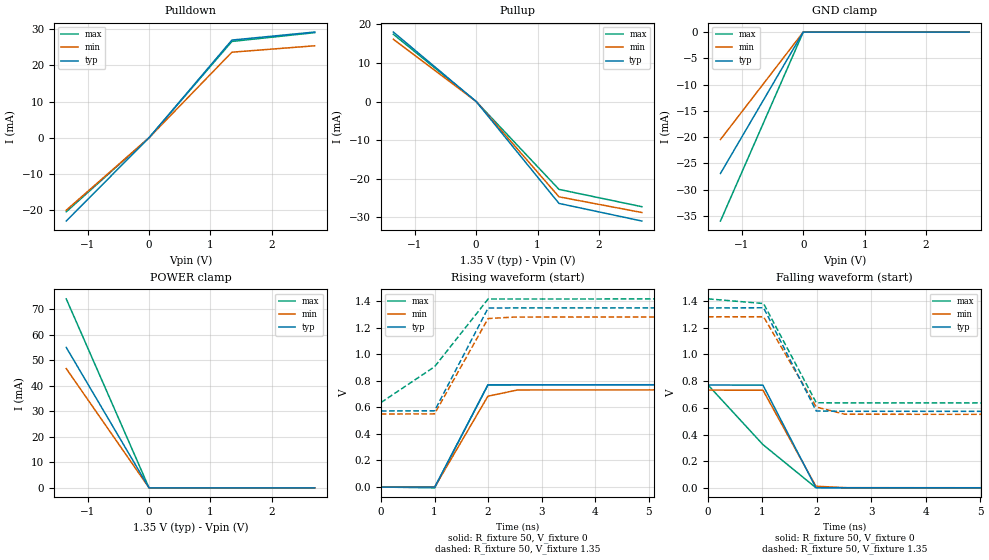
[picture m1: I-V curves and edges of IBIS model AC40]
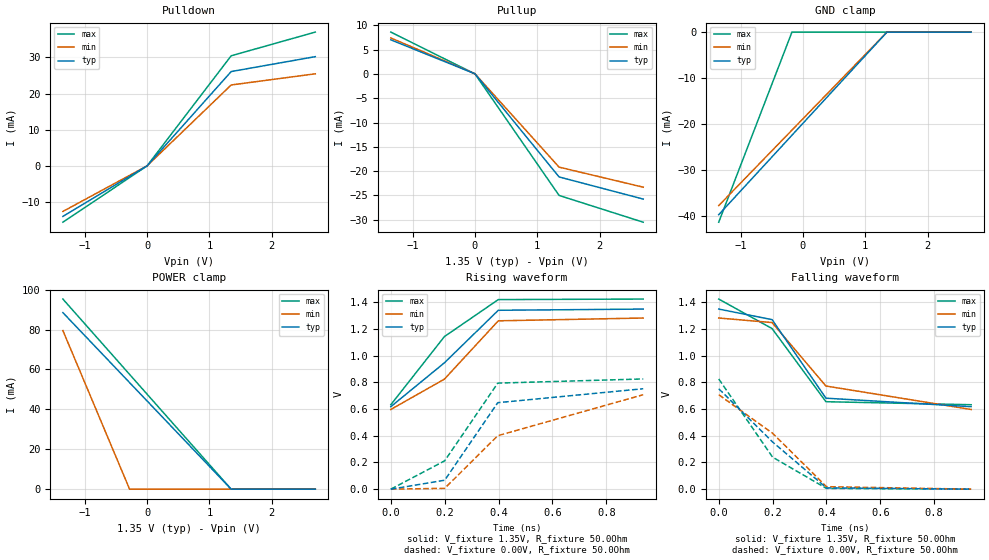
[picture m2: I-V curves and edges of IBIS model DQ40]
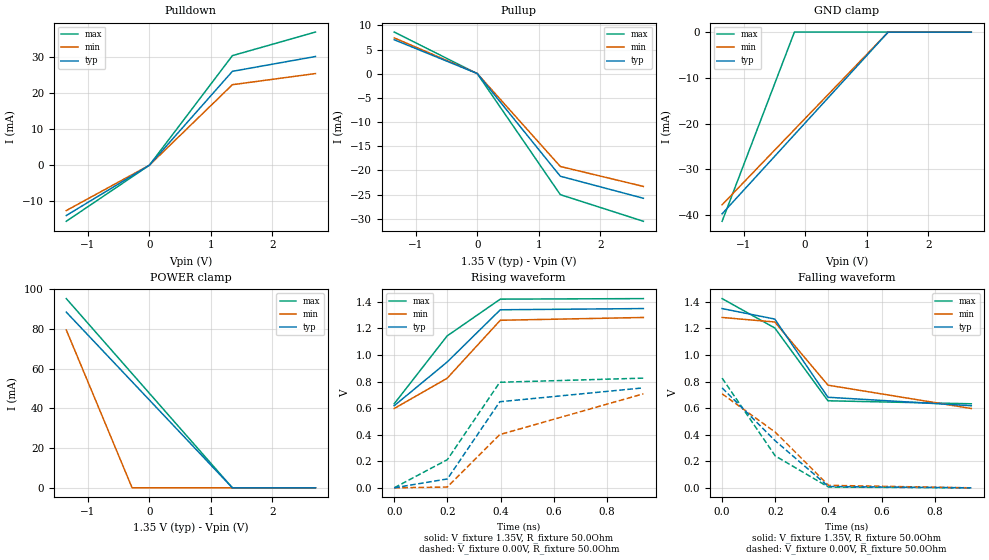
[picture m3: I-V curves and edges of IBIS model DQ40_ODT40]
[IBIS Ver]   5.1
[File Name]   ibis_v5_1.ibs
[Date]   19/10/2025
[File Rev]   1.0
[Source]   Artificial data
[Notes]   For kibis QA
[Disclaimer]   This is NOT a valid component
[Component]   Virtual
[Manufacturer]  KiCad
[Package Model] BGA_package
[Package]
|   typ   min   max
R_pkg   246m   165m   377m
L_pkg   1.49nH   0.98nH   2.23nH
C_pkg   0.40pF   0.29pF   0.56pF
[Pin]   signal_name model_name  R_pin   L_pin   C_pin
A1   VSS   GND
A2   VDD   POWER
B1   A0   AC   225m   1.18nH  0.39pF
B2   DQ0   DQ   214m   1.05nH  0.39pF
[Pin Mapping]   pulldown_ref   pullup_ref   gnd_clamp_ref   power_clamp_ref
A1   VSS   NC
A2   NC   VDD
B1   VSS   VDD   VSS   VDD
B2   VSS   VDD   VSS   VDD
[Model Selector] AC
AC40   Address/command output
[Model Selector] DQ
DQ40   Data I/O with no ODT
DQ40_ODT40   Data I/O with 40ohm ODT
[Define Package Model]  BGA_package
[Manufacturer]   KiCad
[OEM]   KiCad
[Description]   Dummy package
[Number of Pins]   4
[Pin Numbers]
A1
A2
B1
B2
[Model Data]
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[End Model Data]
[End Package Model]
| Models and submodels in the file (4): AC40 (Output), DQ40 (I/O), DQ40_ODT40 (I/O), 40ohm_ODT (Dynamic_clamp)
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[Model]   AC40
Model_type  Output
Polarity   Non-Inverting
Enable   Active-High
Vmeas = 0.675
Cref  = 5p
Rref  = 50
Vref  = 0.675
|   typ   min   max
C_comp_pullup   1.345e-12   1.325e-12   1.380e-12
C_comp_pulldown   1.335e-12   1.315e-12   1.370e-12
|   nom   slow   fast
[Voltage Range]   1.35   1.28   1.42
[Temperature Range] 50C   100C   0C
[Algorithmic Model]
This should be ignored.
[End Algorithmic Model]
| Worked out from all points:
|   slope of the pulldown table from 0 to 0.203 V, typ, clamps not added: 50 ohm
|   slope of the pullup table from 0 to 0.203 V, typ, clamps not added: 51 ohm
|   rising waveform, R_fixture 50, V_fixture 0: 20-80 % time 598ps typ, 638ps min, 592ps max; typ from 0 V to 0.771 V
|   rising waveform, R_fixture 50, V_fixture 1.35: 20-80 % time 601ps typ, 611ps min, 1.12ns max; typ from 0.573 V to 1.35 V
|   falling waveform, R_fixture 50, V_fixture 0: 20-80 % time 585ps typ, 594ps min, 1.17ns max; typ from 0.771 V to 0 V
|   falling waveform, R_fixture 50, V_fixture 1.35: 20-80 % time 582ps typ, 628ps min, 610ps max; typ from 1.35 V to 0.573 V
[GND Clamp]
|   Voltage   I(typ)   I(min)   I(max)
-1.35V    -26.89mA   -20.44mA   -35.94mA
0V        -29.09nA   -44.53nA   -51.87nA
1.35V     518nA      0A         444nA
2.7V      0A         0A         0A
[POWER Clamp]
|   Voltage   I(typ)   I(min)   I(max)
-1.35V    55.06mA    46.76mA    74.09mA
0V        0A         515nA      74.94nA
1.35V     0A         0A         0A
2.7V      0A         0A         0A
[Pullup]
|   Voltage   I(typ)   I(min)   I(max)
-1.35V    18.04mA    16.15mA    17.46mA
0V        3.412nA    527nA      327nA
1.35V     -26.46mA   -24.75mA   -22.82mA
2.7V      -31.03mA   -28.82mA   -27.31mA
[Pulldown]
|   Voltage   I(typ)   I(min)   I(max)
-1.35V    -23.01mA   -20.02mA   -20.46mA
0V        -38.81nA   -32.33nA   -49.77nA
1.35V     26.98mA    23.63mA    26.6mA
2.7V      29.2mA     25.4mA     29.03mA
[Ramp]
R_load = 50
|   typ   min   max
dV/dt_r   0.462/0.131n   0.439/0.138n   0.462/0.158n
dV/dt_f   0.465/0.116n   0.438/0.126n   0.468/0.117n
[Rising Waveform]
R_fixture   = 50
V_fixture   = 0
V_fixture_min = 0
V_fixture_max = 0
|   Time   V(typ)   V(min)   V(max)
0s        1.383uV    1.563uV    2.105uV
1.003ns   -451.8uV   -586uV     -6.054mV
1.996ns   768mV      684mV      770mV
2.55ns    770mV      731mV      770mV
10ns      771mV      733mV      771mV
[Rising Waveform]
R_fixture   = 50
V_fixture   = 1.35
V_fixture_min = 1.28
V_fixture_max = 1.42
|   Time   V(typ)   V(min)   V(max)
0s        573mV      550mV      636mV
1.001ns   574mV      551mV      906mV
2ns       1.348V     1.269V     1.416V
2.491ns   1.349V     1.28V      1.416V
10ns      1.349V     1.282V     1.417V
[Falling Waveform]
R_fixture   = 50
V_fixture   = 0
V_fixture_min = 0
V_fixture_max = 0
|   Time   V(typ)   V(min)   V(max)
0s        771mV      733mV      771mV
1.009ns   770mV      732mV      324mV
1.981ns   1.569mV    11.99mV    941uV
2.55ns    855uV      1.165mV    324uV
10ns      2.06uV     3.194uV    7.381uV
[Falling Waveform]
R_fixture   = 50
V_fixture   = 1.35
V_fixture_min = 1.28
V_fixture_max = 1.42
|   Time   V(typ)   V(min)   V(max)
0s        1.349V     1.282V     1.417V
1.02ns    1.35V      1.283V     1.382V
1.988ns   576mV      606mV      638mV
2.51ns    574mV      552mV      637mV
10ns      573mV      550mV      636mV
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[Model]   DQ40
Model_type   I/O
Vinl  = 515mV
Vinh  = 835mV
Vmeas = 675mV
Vref  = 675mV
Cref  = 0.0pF
Rref  = 25.0Ohm
|   typ   min   max
C_comp   1.36pF   1.26pF   1.46pF
[Model Spec]
Vinl   0.515V   0.481V   0.552V
Vinh   0.835V   0.801V   0.872V
Vmeas   0.675V   0.641V   0.712V
Vref   0.675V   0.641V   0.712V
[Receiver Thresholds]
Vth   =  0.675V
Vth_min  =  0.661V
Vth_max  =  0.688V
Vinh_ac  =  0.160V
Vinh_dc  =  0.090V
Vinl_ac  = -0.160V
Vinl_dc  = -0.090V
Tslew_ac =  5.00ns
Threshold_sensitivity = 0.50
Reference_supply Pullup_ref
|   nom   slow   fast
[Voltage Range]   1.35V   1.28V   1.42V
[Pullup Reference]  1.35V   1.28V   1.42V
[Temperature Range] 50.0   100.0   0.0
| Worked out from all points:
|   slope of the pulldown table from 0 to 0.203 V, typ, clamps not added: 51.8 ohm
|   slope of the pullup table from 0 to 0.203 V, typ, clamps not added: 63.6 ohm
|   falling waveform, V_fixture 1.35V, R_fixture 50.0Ohm: 20-80 % time 149ps typ, 275ps min, 207ps max; typ from 1.35 V to 0.618 V
|   rising waveform, V_fixture 1.35V, R_fixture 50.0Ohm: 20-80 % time 241ps typ, 226ps min, 226ps max; typ from 0.618 V to 1.35 V
|   rising waveform, V_fixture 0.00V, R_fixture 50.0Ohm: 20-80 % time 153ps typ, 420ps min, 196ps max; typ from 0 V to 0.752 V
|   falling waveform, V_fixture 0.00V, R_fixture 50.0Ohm: 20-80 % time 243ps typ, 241ps min, 207ps max; typ from 0.752 V to 0 V
[Pulldown]
|   Voltage   I(typ)   I(min)   I(max)
-1.35V    -13.96mA   -12.59mA   -15.56mA
0V        -3.893uA   -4.109uA   -1.483uA
1.35V     26.08mA    22.37mA    30.44mA
2.7V      30.2mA     25.46mA    36.99mA
[GND Clamp]
|   Voltage   I(typ)   I(min)   I(max)
-1.35V    -39.74mA   -37.76mA   -41.37mA
-175mV    NA         NA         0A
1.35V     0A         0A         0A
2.7V      0A         0A         0A
[Pullup]
|   Voltage   I(typ)   I(min)   I(max)
-1.35V    7.027mA    7.411mA    8.62mA
0V        31.17uA    35.34uA    10.66uA
1.35V     -21.21mA   -19.19mA   -25.02mA
2.7V      -25.77mA   -23.32mA   -30.53mA
[POWER Clamp]
|   Voltage   I(typ)   I(min)   I(max)
-1.35V    88.45mA    79.46mA    95.25mA
-280mV    NA         0A         NA
1.35V     0A         0A         0A
2.7V      0A         0A         0A
[Ramp]
R_load = 50.0Ohm
|   typ   min   max
dV/dt_r   451mV/134ps 424mV/184ps 495mV/103ps
dV/dt_f   438mV/120ps 411mV/159ps 475mV/90ps
[Falling Waveform]
V_fixture   = 1.35V
V_fixture_min = 1.28V
V_fixture_max = 1.42V
R_fixture   = 50.0Ohm
|   Time   V(typ)   V(min)   V(max)
0s        1.349V     1.282V     1.424V
198ps     1.27V      1.248V     1.203V
398ps     681.5mV    772.6mV    655.1mV
937ps     617.9mV    596.9mV    632.5mV
[Rising Waveform]
V_fixture   = 1.35V
V_fixture_min = 1.28V
V_fixture_max = 1.42V
R_fixture   = 50.0Ohm
|   Time   V(typ)   V(min)   V(max)
0s        617.9mV    596.9mV    632.5mV
199ps     946.5mV    824.3mV    1.143V
399ps     1.34V      1.261V     1.42V
937ps     1.349V     1.282V     1.424V
[Rising Waveform]
V_fixture   = 0.00V
V_fixture_min = 0.00V
V_fixture_max = 0.00V
R_fixture   = 50.0Ohm
|   Time   V(typ)   V(min)   V(max)
0s        57.55uV    60.07uV    6.665uV
200ps     66.92mV    6.131mV    212.3mV
397ps     647.8mV    400.5mV    794.4mV
937ps     752.3mV    707.5mV    825.5mV
[Falling Waveform]
V_fixture   = 0.00V
V_fixture_min = 0.00V
V_fixture_max = 0.00V
R_fixture   = 50.0Ohm
|   Time   V(typ)   V(min)   V(max)
0s        752.3mV    707.5mV    825.5mV
200ps     353.4mV    418.6mV    239.7mV
400ps     9.56mV     18.77mV    5.657mV
937ps     57.55uV    60.07uV    6.665uV
[Model]   DQ40_ODT40
Model_type   I/O
Vinl  = 515mV
Vinh  = 835mV
Vmeas = 675mV
Vref  = 675mV
Cref  = 0.0pF
Rref  = 25.0Ohm
|   typ   min   max
C_comp   1.36pF   1.26pF   1.46pF
[Model Spec]
Vinl   0.515V   0.481V   0.552V
Vinh   0.835V   0.801V   0.872V
Vmeas   0.675V   0.641V   0.712V
Vref   0.675V   0.641V   0.712V
[Receiver Thresholds]
Vth   =  0.675V
Vth_min  =  0.661V
Vth_max  =  0.688V
Vinh_ac  =  0.160V
Vinh_dc  =  0.090V
Vinl_ac  = -0.160V
Vinl_dc  = -0.090V
Tslew_ac =  5.00ns
Threshold_sensitivity = 0.50
Reference_supply Pullup_ref
|   nom   slow   fast
[Voltage Range]   1.35V   1.28V   1.42V
[Pullup Reference]  1.35V   1.28V   1.42V
[Temperature Range] 50.0   100.0   0.0
[Add Submodel]
| Submodel Name   Mode
40ohm_ODT   Non-Driving
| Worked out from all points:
|   slope of the pulldown table from 0 to 0.203 V, typ, clamps not added: 51.8 ohm
|   slope of the pullup table from 0 to 0.203 V, typ, clamps not added: 63.6 ohm
|   falling waveform, V_fixture 1.35V, R_fixture 50.0Ohm: 20-80 % time 149ps typ, 275ps min, 207ps max; typ from 1.35 V to 0.618 V
|   rising waveform, V_fixture 1.35V, R_fixture 50.0Ohm: 20-80 % time 241ps typ, 226ps min, 226ps max; typ from 0.618 V to 1.35 V
|   rising waveform, V_fixture 0.00V, R_fixture 50.0Ohm: 20-80 % time 153ps typ, 420ps min, 196ps max; typ from 0 V to 0.752 V
|   falling waveform, V_fixture 0.00V, R_fixture 50.0Ohm: 20-80 % time 243ps typ, 241ps min, 207ps max; typ from 0.752 V to 0 V
[Pulldown]
|   Voltage   I(typ)   I(min)   I(max)
-1.35V    -13.96mA   -12.59mA   -15.56mA
0V        -3.893uA   -4.109uA   -1.483uA
1.35V     26.08mA    22.37mA    30.44mA
2.7V      30.2mA     25.46mA    36.99mA
[GND Clamp]
|   Voltage   I(typ)   I(min)   I(max)
-1.35V    -39.74mA   -37.76mA   -41.37mA
-175mV    NA         NA         0A
1.35V     0A         0A         0A
2.7V      0A         0A         0A
[Pullup]
|   Voltage   I(typ)   I(min)   I(max)
-1.35V    7.027mA    7.411mA    8.62mA
0V        31.17uA    35.34uA    10.66uA
1.35V     -21.21mA   -19.19mA   -25.02mA
2.7V      -25.77mA   -23.32mA   -30.53mA
[POWER Clamp]
|   Voltage   I(typ)   I(min)   I(max)
-1.35V    88.45mA    79.46mA    95.25mA
-280mV    NA         0A         NA
1.35V     0A         0A         0A
2.7V      0A         0A         0A
[Ramp]
R_load = 50.0Ohm
|   typ   min   max
dV/dt_r   451mV/134ps 424mV/184ps 495mV/103ps
dV/dt_f   438mV/120ps 411mV/159ps 475mV/90ps
[Falling Waveform]
V_fixture   = 1.35V
V_fixture_min = 1.28V
V_fixture_max = 1.42V
R_fixture   = 50.0Ohm
|   Time   V(typ)   V(min)   V(max)
0s        1.349V     1.282V     1.424V
198ps     1.27V      1.248V     1.203V
398ps     681.5mV    772.6mV    655.1mV
937ps     617.9mV    596.9mV    632.5mV
[Rising Waveform]
V_fixture   = 1.35V
V_fixture_min = 1.28V
V_fixture_max = 1.42V
R_fixture   = 50.0Ohm
|   Time   V(typ)   V(min)   V(max)
0s        617.9mV    596.9mV    632.5mV
199ps     946.5mV    824.3mV    1.143V
399ps     1.34V      1.261V     1.42V
937ps     1.349V     1.282V     1.424V
[Rising Waveform]
V_fixture   = 0.00V
V_fixture_min = 0.00V
V_fixture_max = 0.00V
R_fixture   = 50.0Ohm
|   Time   V(typ)   V(min)   V(max)
0s        57.55uV    60.07uV    6.665uV
200ps     66.92mV    6.131mV    212.3mV
397ps     647.8mV    400.5mV    794.4mV
937ps     752.3mV    707.5mV    825.5mV
[Falling Waveform]
V_fixture   = 0.00V
V_fixture_min = 0.00V
V_fixture_max = 0.00V
R_fixture   = 50.0Ohm
|   Time   V(typ)   V(min)   V(max)
0s        752.3mV    707.5mV    825.5mV
200ps     353.4mV    418.6mV    239.7mV
400ps     9.56mV     18.77mV    5.657mV
937ps     57.55uV    60.07uV    6.665uV
